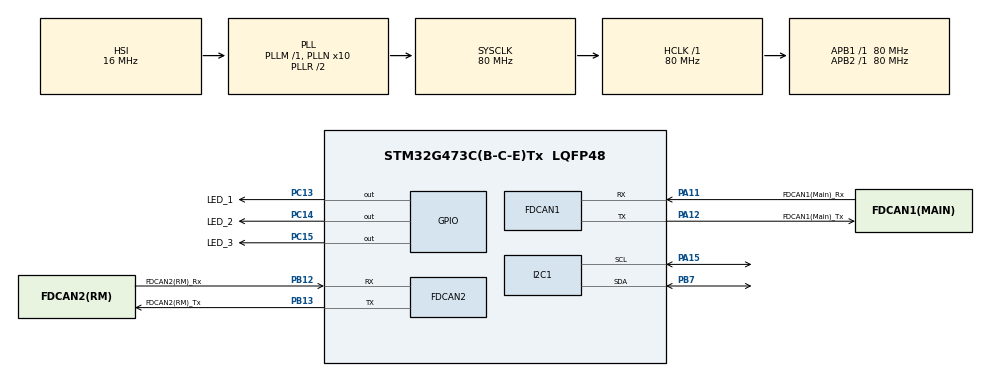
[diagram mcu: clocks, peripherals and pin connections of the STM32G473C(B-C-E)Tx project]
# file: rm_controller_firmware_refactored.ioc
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FDCAN1.CalculateBaudRateNominal=1000000
FDCAN1.CalculateTimeBitNominal=1000
FDCAN1.CalculateTimeQuantumNominal=100.0
FDCAN1.DataPrescaler=4
FDCAN1.DataTimeSeg1=7
FDCAN1.DataTimeSeg2=1
FDCAN1.FrameFormat=FDCAN_FRAME_CLASSIC
FDCAN1.NominalPrescaler=8
FDCAN1.NominalTimeSeg1=7
FDCAN1.NominalTimeSeg2=2
FDCAN1.StdFiltersNbr=3
FDCAN2.CalculateBaudRateNominal=1000000
FDCAN2.CalculateTimeBitNominal=1000
FDCAN2.CalculateTimeQuantumNominal=100.0
FDCAN2.DataPrescaler=4
FDCAN2.DataTimeSeg1=7
FDCAN2.DataTimeSeg2=2
FDCAN2.ExtFiltersNbr=1
FDCAN2.NominalPrescaler=8
FDCAN2.NominalTimeSeg1=7
FDCAN2.NominalTimeSeg2=2
FDCAN2.StdFiltersNbr=1
I2C1.Timing=0x10D19CE4
Mcu.Family=STM32G4
Mcu.Name=STM32G473C(B-C-E)Tx
Mcu.Package=LQFP48
NVIC.FDCAN1_IT0_IRQn=true\:0\:0\:false\:false\:true\:true\:true\:true
NVIC.FDCAN2_IT0_IRQn=true\:0\:0\:false\:false\:true\:true\:true\:true
NVIC.FDCAN2_IT1_IRQn=true\:0\:0\:false\:false\:true\:true\:true\:true
NVIC.PriorityGroup=NVIC_PRIORITYGROUP_4
NVIC.TIM1_UP_TIM16_IRQn=true\:2\:0\:true\:false\:true\:true\:true\:true
NVIC.TIM6_DAC_IRQn=true\:1\:0\:true\:false\:true\:true\:true\:true
PA11.GPIO_Label=FDCAN1(Main)_Rx
PA11.Mode=FDCAN_Activate
PA11.Signal=FDCAN1_RX
PA12.GPIO_Label=FDCAN1(Main)_Tx
PA12.Mode=FDCAN_Activate
PA12.Signal=FDCAN1_TX
PA13.Mode=Trace_Asynchronous_SW
PA13.Signal=SYS_JTMS-SWDIO
PA14.Mode=Trace_Asynchronous_SW
PA14.Signal=SYS_JTCK-SWCLK
PA15.Mode=I2C
PA15.Signal=I2C1_SCL
PB12.GPIO_Label=FDCAN2(RM)_Rx
PB12.Mode=FDCAN_Activate
PB12.Signal=FDCAN2_RX
PB13.GPIO_Label=FDCAN2(RM)_Tx
PB13.Mode=FDCAN_Activate
PB13.Signal=FDCAN2_TX
PB3.Mode=Trace_Asynchronous_SW
PB3.Signal=SYS_JTDO-SWO
PB7.Mode=I2C
PB7.Signal=I2C1_SDA
PC13.GPIO_Label=LED_1
PC13.Signal=GPIO_Output
PC14-OSC32_IN.GPIO_Label=LED_2
PC14-OSC32_IN.Signal=GPIO_Output
PC15-OSC32_OUT.GPIO_Label=LED_3
PC15-OSC32_OUT.Signal=GPIO_Output
ProjectManager.HeapSize=0x200
ProjectManager.StackSize=0x400
ProjectManager.TargetToolchain=CMake
RCC.ADC12Freq_Value=80000000
RCC.ADC345Freq_Value=80000000
RCC.AHBFreq_Value=80000000
RCC.APB1Freq_Value=80000000
RCC.APB1TimFreq_Value=80000000
RCC.APB2Freq_Value=80000000
RCC.APB2TimFreq_Value=80000000
RCC.CortexFreq_Value=80000000
RCC.EXTERNAL_CLOCK_VALUE=12288000
RCC.HCLKFreq_Value=80000000
RCC.HSE_VALUE=8000000
RCC.HSI48_VALUE=48000000
RCC.HSI_VALUE=16000000
RCC.LSE_VALUE=32768
RCC.PLLN=10
RCC.SYSCLKFreq_VALUE=80000000
RCC.SYSCLKSource=RCC_SYSCLKSOURCE_PLLCLK
RCC.USBFreq_Value=80000000
RCC.VCOOutputFreq_Value=160000000
TIM16.PeriodNoDither=999
TIM16.Prescaler=639
TIM6.PeriodNoDither=999
TIM6.Prescaler=319
VP_SYS_VS_DBSignals.Mode=DisableDeadBatterySignals
VP_TIM16_VS_ClockSourceINT.Mode=Enable_Timer
VP_TIM6_VS_ClockSourceINT.Mode=Enable_Timer
board=custom

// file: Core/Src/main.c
/* USER CODE BEGIN Header */
/**
  ******************************************************************************
  * @file           : main.c
  * @brief          : Main program body
  ******************************************************************************
  * @attention
  *
  * Copyright (c) 2026 STMicroelectronics.
  * All rights reserved.
  *
  * This software is licensed under terms that can be found in the LICENSE file
  * in the root directory of this software component.
  * If no LICENSE file comes with this software, it is provided AS-IS.
  *
  ******************************************************************************
  */
/* USER CODE END Header */
#include "main.h"
#include "fdcan.h"
#include "i2c.h"
#include "tim.h"
#include "gpio.h"
#include "stdbool.h"

/* USER CODE BEGIN Includes */
#include "string.h"
#include "math.h"
#include "stdlib.h"
/* USER CODE END Includes */

/* USER CODE BEGIN PV */
MotorState motorstate[8] = {0};
volatile RxDatas rx_datas;
int16_t can1_reset_cooltime = 0;
int16_t can2_reset_cooltime = 0;
volatile int16_t main_can_move = 0; //mainとcan通信ができているか
uint8_t rm_id = 0;
Gain rm_angle_gain = {.Kp = 0.6f, .Ki = 0.3f, .Kd = 0.0f};
Gain rm_speed_gain = {.Kp = 10.0f, .Ki = 40.0f, .Kd = 0.0f}; //I=30.0
Gain rs_angle_gain = {.Kp = 0.0f, .Ki = 0.0f, .Kd = 0.0f};
uint32_t t_count = 0;
/* USER CODE END PV */

void SystemClock_Config(void);
/* USER CODE BEGIN PFP */
void main_rx(uint8_t motor_id);
void rm_rx(uint8_t motor_id);
void rs_rx(uint8_t motor_id);
void rs_init(uint8_t motor_id);
void can_send(uint32_t id, uint8_t *tx_data,uint8_t id_type,uint8_t channel);
void speed_pid_task();
void angle_pid_task();
void countdown();
void gain_init(uint8_t motor_id,int8_t motor_type);
int16_t rm_move(int i,bool *rm_send1,bool *rm_send2);
void rs_move(int i);
float pid(int i, Mode mode);
void main_rx_init(void);
/* USER CODE END PFP */

int main(void)
{

  /* MCU Configuration--------------------------------------------------------*/

  /* Reset of all peripherals, Initializes the Flash interface and the Systick. */
  HAL_Init();

  /* Configure the system clock */
  SystemClock_Config();

  /* Initialize all configured peripherals */
  MX_GPIO_Init();
  MX_FDCAN1_Init();
  MX_FDCAN2_Init();
  MX_I2C1_Init();
  MX_TIM6_Init();
  MX_TIM16_Init();
  /* USER CODE BEGIN 2 */
  HAL_TIM_Base_Start_IT(&htim16);
  HAL_TIM_Base_Start_IT(&htim6);
  HAL_GPIO_WritePin(LED_1_GPIO_Port, LED_1_Pin, GPIO_PIN_SET);
  /* USER CODE END 2 */

  /* Infinite loop */
  /* USER CODE BEGIN WHILE */
  while (1)
  {
    //異常時にCANをリセット
    if ((hfdcan1.Instance->PSR & FDCAN_PSR_BO) != 0 && can1_reset_cooltime == 0)
    {
      HAL_FDCAN_Stop(&hfdcan1);
      HAL_FDCAN_Start(&hfdcan1);
      can1_reset_cooltime = 25;
    }
    if ((hfdcan2.Instance->PSR & FDCAN_PSR_BO) != 0 && can2_reset_cooltime == 0)
    {
      HAL_FDCAN_Stop(&hfdcan2);
      HAL_FDCAN_Start(&hfdcan2);
      can2_reset_cooltime = 25;
    }
    //CAN受信の処理

    //メインからの受信(init/gain)
    if (rx_datas.main_rx_init.write_idx != rx_datas.main_rx_init.read_idx) {
      main_rx_init();
    }
    for (int i = 0; i < 8; i++) {
      //メインからの受信(value)
      if (rx_datas.main_rx[i].rx_flag == true) {
        rx_datas.main_rx[i].rx_flag = false;
        main_rx(i);
      }

      //ロボマスからの受信
      if (rx_datas.rm_rx[i].rx_flag == true) {
        rx_datas.rm_rx[i].rx_flag = false;
        rm_rx(i);
      }
      //ロボストライドからの受信
      if (rx_datas.rs_rx[i].rx_flag == true) {
        rx_datas.rs_rx[i].rx_flag = false;
        rs_rx(i);
      }
    }
    /* USER CODE END WHILE */
  }
}

void SystemClock_Config(void)
{
  RCC_OscInitTypeDef RCC_OscInitStruct = {0};
  RCC_ClkInitTypeDef RCC_ClkInitStruct = {0};

  /** Configure the main internal regulator output voltage
  */
  HAL_PWREx_ControlVoltageScaling(PWR_REGULATOR_VOLTAGE_SCALE1);

  /** Initializes the RCC Oscillators according to the specified parameters
  * in the RCC_OscInitTypeDef structure.
  */
  RCC_OscInitStruct.OscillatorType = RCC_OSCILLATORTYPE_HSI;
  RCC_OscInitStruct.HSIState = RCC_HSI_ON;
  RCC_OscInitStruct.HSICalibrationValue = RCC_HSICALIBRATION_DEFAULT;
  RCC_OscInitStruct.PLL.PLLState = RCC_PLL_ON;
  RCC_OscInitStruct.PLL.PLLSource = RCC_PLLSOURCE_HSI;
  RCC_OscInitStruct.PLL.PLLM = RCC_PLLM_DIV1;
  RCC_OscInitStruct.PLL.PLLN = 10;
  RCC_OscInitStruct.PLL.PLLP = RCC_PLLP_DIV2;
  RCC_OscInitStruct.PLL.PLLQ = RCC_PLLQ_DIV2;
  RCC_OscInitStruct.PLL.PLLR = RCC_PLLR_DIV2;
  if (HAL_RCC_OscConfig(&RCC_OscInitStruct) != HAL_OK)
  {
    Error_Handler();
  }

  /** Initializes the CPU, AHB and APB buses clocks
  */
  RCC_ClkInitStruct.ClockType = RCC_CLOCKTYPE_HCLK|RCC_CLOCKTYPE_SYSCLK
                              |RCC_CLOCKTYPE_PCLK1|RCC_CLOCKTYPE_PCLK2;
  RCC_ClkInitStruct.SYSCLKSource = RCC_SYSCLKSOURCE_PLLCLK;
  RCC_ClkInitStruct.AHBCLKDivider = RCC_SYSCLK_DIV1;
  RCC_ClkInitStruct.APB1CLKDivider = RCC_HCLK_DIV1;
  RCC_ClkInitStruct.APB2CLKDivider = RCC_HCLK_DIV1;

  if (HAL_RCC_ClockConfig(&RCC_ClkInitStruct, FLASH_LATENCY_2) != HAL_OK)
  {
    Error_Handler();
  }
}

/* USER CODE BEGIN 4 */
bool dequeue(volatile RingBuffer *rb,uint8_t *data,uint32_t *id) {
  if (rb->count == 0) {
    return false;
  }
  *id = rb->data[rb->read_idx].rx_id;
  memcpy(data,(const void *)rb->data[rb->read_idx].rx_data,8);
  rb->read_idx = (rb->read_idx + 1) % RX_BUFFER_SIZE;
  rb->count--;
  return true;
}

void can_send(uint32_t id,uint8_t *tx_data,uint8_t id_type,uint8_t channel) {
  FDCAN_TxHeaderTypeDef TxHeader;
  uint8_t tx_datas[8] = {0};
  if (id_type == 0) {
    TxHeader.Identifier = id;             // 送信ID
    TxHeader.IdType = FDCAN_STANDARD_ID;  // 標準ID
  } else {
    TxHeader.Identifier = id;             // 送信ID
    TxHeader.IdType = FDCAN_EXTENDED_ID;  // 拡張ID
  }
  TxHeader.TxFrameType = FDCAN_DATA_FRAME;            // データフレーム
  TxHeader.DataLength = FDCAN_DLC_BYTES_8;            // DLC
  TxHeader.ErrorStateIndicator = FDCAN_ESI_ACTIVE;
  TxHeader.BitRateSwitch = FDCAN_BRS_OFF;             // BRS設定５
  TxHeader.FDFormat = FDCAN_CLASSIC_CAN;              // Classic
  TxHeader.TxEventFifoControl = FDCAN_NO_TX_EVENTS;
  TxHeader.MessageMarker = 0;
  memcpy(tx_datas,tx_data,8);

  if (channel == 0) {
    if (HAL_FDCAN_GetTxFifoFreeLevel(&hfdcan1) > 0)
    {
      HAL_FDCAN_AddMessageToTxFifoQ(&hfdcan1, &TxHeader, tx_datas);
    }
  } else {
    if (HAL_FDCAN_GetTxFifoFreeLevel(&hfdcan2) > 0)
    {
      HAL_FDCAN_AddMessageToTxFifoQ(&hfdcan2, &TxHeader, tx_datas);
    }
  }
}

void gain_init(uint8_t motor_id,int8_t motor_type) {
  if (motor_type == 1) {
    motorstate[motor_id].speed.speed_gain = rm_speed_gain;
    motorstate[motor_id].angle.angle_gain = rm_angle_gain;
  } else if (motor_type == 2) {
    motorstate[motor_id].angle.angle_gain = rs_angle_gain;
  }
}

void rs_init(uint8_t motor_id) {
  uint8_t tx_datas[8] = {0};
  can_send((0x3 << 24) | (0x0 << 8) | motor_id,tx_datas,1,1);
  tx_datas[0] = 1;
  can_send((0x6 << 24) | (0x0 << 8) | motor_id,tx_datas,1,1);
}

void main_rx_init() {
  __disable_irq();
  uint8_t rx_data[8] = {0};
  uint32_t rx_id;
  if (dequeue(&rx_datas.main_rx_init,&rx_data[0],&rx_id) == false) {
    __enable_irq();
    return;
  }
  __enable_irq();
  uint8_t motor_id = rx_id;
  uint8_t packet_type = rx_data[0];
  if (packet_type == 0x00) {
    //init処理
    motorstate[motor_id].speed.speed_pid_state.e_pre = 0;
    motorstate[motor_id].speed.speed_pid_state.ie = 0;
    motorstate[motor_id].motor_type = rx_data[1];
    motorstate[motor_id].mode = rx_data[2];
    gain_init(motor_id,motorstate[motor_id].motor_type);
    if (rx_data[1] == 2) {
      rs_init(motor_id);   //ロボストライド用のinit処理
    }
  } else if (packet_type == 0x02) {
    //ゲインを変更
    uint16_t value1 = (rx_data[1] << 8) | rx_data[2];
    uint16_t value2 = (rx_data[3] << 8) | rx_data[4];
    uint16_t value3 = (rx_data[5] << 8) | rx_data[6];
    __fp16 half_value1;
    memcpy(&half_value1, &value1, 2);
    __fp16 half_value2;
    memcpy(&half_value2, &value2, 2);
    __fp16 half_value3;
    memcpy(&half_value3, &value3, 2);
    if (motorstate[motor_id].mode == SPEED)
    {
      motorstate[motor_id].speed.speed_gain.Kp = half_value1;
      motorstate[motor_id].speed.speed_gain.Ki = half_value2;
      motorstate[motor_id].speed.speed_gain.Kd = half_value3;
    }
    else if (motorstate[motor_id].mode == ANGLE)
    {
      motorstate[motor_id].angle.angle_gain.Kp = half_value1;
      motorstate[motor_id].angle.angle_gain.Ki = half_value2;
      motorstate[motor_id].angle.angle_gain.Kd = half_value3;
    }
  }
}

void main_rx(uint8_t motor_id) {
  __disable_irq();
  uint8_t rx_data[8] = {0};
  uint32_t rx_id = rx_datas.main_rx[motor_id].rx_id;
  memcpy(rx_data,rx_datas.main_rx[motor_id].rx_data, 8);
  __enable_irq();
  uint8_t packet_type = rx_data[0];

    HAL_GPIO_WritePin(LED_3_GPIO_Port, LED_3_Pin, GPIO_PIN_SET);
    //値を受け取る処理
    if (motorstate[motor_id].motor_can_move < 1) {
      return;
    }
    main_can_move = 125;
    if (motorstate[motor_id].mode == CURRENT) {
      motorstate[motor_id].current.target_current = (int16_t)((rx_data[1] << 8) | rx_data[2]);
    } else if (motorstate[motor_id].mode == SPEED) {
      if (motorstate[motor_id].motor_type == 1) {
        motorstate[motor_id].speed.target_rpm = (int16_t)((rx_data[1] << 8) | rx_data[2]) * GEAR_RATIO;     //もしロボマスなら、ギア比をかける
      } else {
        motorstate[motor_id].speed.target_rpm = (int16_t)((rx_data[1] << 8) | rx_data[2]);
      }
    } else if (motorstate[motor_id].mode == ANGLE) {
      uint16_t raw_target_angle = (rx_data[1] << 8) | rx_data[2];
      __fp16 half_value;
      memcpy(&half_value,&raw_target_angle,2);
      if (motorstate[motor_id].motor_type == 1) {
        motorstate[motor_id].angle.target_angle = half_value * GEAR_RATIO;     //もしロボマスなら、ギア比をかける
      } else {
        motorstate[motor_id].angle.target_angle = half_value;
      }
    }
}

void rm_rx(uint8_t motor_id) {
  __disable_irq();
  uint8_t rx_data[8] = {0};
  uint32_t rx_id = rx_datas.rm_rx[motor_id].rx_id;
  memcpy(rx_data,rx_datas.rm_rx[motor_id].rx_data, 8);
  __enable_irq();

  //currentを取得
  int16_t now_current = (rx_data[4] << 8) | rx_data[5];
  float new_current = now_current * current_alpha + motorstate[motor_id].current.current * (1 - current_alpha);
  motorstate[motor_id].current.current = (int16_t)new_current;

  //speedを取得
  int16_t now_rpm = (rx_data[2] << 8) | rx_data[3];
  float new_rpm = now_rpm * rpm_alpha + motorstate[motor_id].speed.rpm * (1 - rpm_alpha);
  motorstate[motor_id].speed.rpm = (int16_t)new_rpm;

  //angleを取得
  uint16_t angle_raw = (rx_data[0] << 8) | rx_data[1];
  float angle_360 = (float)angle_raw * 360.0f / 8192.0f;
  float diff = angle_360 - motorstate[motor_id].angle.pre_angle_360;
  if (diff < -300) {
    motorstate[motor_id].angle.resolution += 1;
  } else if (diff > 300) {
    motorstate[motor_id].angle.resolution -= 1;
  }
  motorstate[motor_id].angle.angle = angle_360 + motorstate[motor_id].angle.resolution * 360;
  motorstate[motor_id].angle.pre_angle_360 = angle_360;
  if (motorstate[motor_id].first_move == false) {
    motorstate[motor_id].first_move = true;
    motorstate[motor_id].angle.angle_zero = motorstate[motor_id].angle.angle;
  }
  motorstate[motor_id].motor_can_move = 125;
  motorstate[motor_id].angle.angle = fmodf(motorstate[motor_id].angle.angle - motorstate[motor_id].angle.angle_zero,360 * GEAR_RATIO);
  if (motorstate[motor_id].angle.angle < 0) {
    motorstate[motor_id].angle.angle += 360 * GEAR_RATIO;
  }
  HAL_GPIO_WritePin(LED_2_GPIO_Port, LED_2_Pin, GPIO_PIN_SET);
}

void rs_rx(uint8_t motor_id) {
  __disable_irq();
  uint8_t rx_data[8] = {0};
  uint32_t rx_id = rx_datas.rs_rx[motor_id].rx_id;
  memcpy(rx_data,rx_datas.rs_rx[motor_id].rx_data, 8);
  __enable_irq();
  uint16_t type = rx_id >> 24 & 0x1F;
  if (type == 2) {
    uint16_t mode = rx_id >> 22 & 0x3;
    uint16_t fault = rx_id>> 16 & 0x3F;
    if (fault == 0 && mode == 2) {
      //motor_canが動いていることを確認
      motorstate[motor_id].motor_can_move = 125;
      //currentを取得
      uint16_t current_raw = (rx_data[4] << 8 ) | rx_data[5];
      int32_t current = current_raw * 20000 / 65535 - 10000; //電流値は10000~-10000
      motorstate[motor_id].current.current = (int16_t)current;
      //speedを取得
      uint16_t speed_raw = (rx_data[2] << 8) | rx_data[3];
      float speed = (float)speed_raw * 100.0f / 65535.0f - 50.0f;
      motorstate[motor_id].speed.rpm = (int16_t)(speed * 30.0f / (float)M_PI);
      //angleを取得
      uint16_t angle_raw = (rx_data[0] << 8) | rx_data[1];
      float angle_360 = angle_raw / 65535.0f * 1440.0f - 720.0f;
      float diff = angle_360 - motorstate[motor_id].angle.pre_angle_360;
      if (diff < -720) {
        motorstate[motor_id].angle.resolution += 1;
      } else if (diff > 720) {
        motorstate[motor_id].angle.resolution -= 1;
      }
      motorstate[motor_id].angle.pre_angle_360 = angle_360;
      motorstate[motor_id].angle.angle = angle_360 + motorstate[motor_id].angle.resolution * 1440.0f;
    }
  }
}

void countdown() {
  //リセットのクールタイムをカウントダウン
  if (can1_reset_cooltime > 0)
  {
    can1_reset_cooltime -= 1;
  }
  if (can2_reset_cooltime > 0)
  {
    can2_reset_cooltime -= 1;
  }
  //main_can_moveをカウントダウン
  if (main_can_move > 0) {
    main_can_move -= 1;
  } else {
    //main_canが動いていない時
    for (int i = 0; i < 8; i++)
    {
      if (motorstate[i].mode == SPEED || motorstate[i].mode == CURRENT) {
        motorstate[i].speed.target_rpm = 0;
        motorstate[i].current.target_current = 0;
      }
    }
  }
  //motor_can_moveをカウントダウン
  for (int i = 0; i < 8; i++) {
    if (motorstate[i].motor_can_move > 0) {
      motorstate[i].motor_can_move -= 1;
    } else {
      //motor_canが動いていない時
      motorstate[i].current.target_current = 0;
      motorstate[i].speed.speed_pid_state.e_pre = 0;
      motorstate[i].speed.speed_pid_state.ie = 0;
      motorstate[i].speed.target_rpm = 0;
      motorstate[i].speed.rpm = 0;
      motorstate[i].angle.angle_pid_state.e_pre = 0;
      motorstate[i].angle.angle_pid_state.ie = 0;
    }
  }
}

float pid(int i,Mode mode) {
  float *ie = 0;
  float e = 0;
  float *e_pre = 0;
  float Kp = 0;
  float Ki = 0;
  float Kd = 0;
  float t = 0;
  float power = 0;
  int16_t max_power = 0;
  int16_t min_power = 0;
  if (mode == SPEED) {
    e = motorstate[i].speed.target_rpm - motorstate[i].speed.rpm;
    ie = &motorstate[i].speed.speed_pid_state.ie;
    e_pre = &motorstate[i].speed.speed_pid_state.e_pre;
    Kp = motorstate[i].speed.speed_gain.Kp;
    Ki = motorstate[i].speed.speed_gain.Ki;
    Kd = motorstate[i].speed.speed_gain.Kd;
    max_power = MAX_POWER;
    min_power = MIN_POWER;
    t = T_6;
  } else if (mode == ANGLE) {
    e = motorstate[i].angle.target_angle - motorstate[i].angle.angle;
    if (motorstate[i].motor_type == 1) {
      if (e > RESOLUTION / 2)
      {
        e -= RESOLUTION;
      } else if (e < RESOLUTION / -2) {
        e += RESOLUTION;
      }
      max_power = RM_MAX_RPM;
      min_power = RM_MIN_RPM;
    } else if (motorstate[i].motor_type == 2) {
      max_power = RS_MAX_RPM;
      min_power = RS_MIN_RPM;
    }
    ie = &motorstate[i].angle.angle_pid_state.ie;
    e_pre = &motorstate[i].angle.angle_pid_state.e_pre;
    Kp = motorstate[i].angle.angle_gain.Kp;
    Ki = motorstate[i].angle.angle_gain.Ki;
    Kd = motorstate[i].angle.angle_gain.Kd;
    t = T_16;
  }

  float de = (e - *e_pre) / t;
  if (*ie > MAX_IE && (e + *e_pre) > 0) {
    //ieを増やさない
  } else if (*ie < MIN_IE && (e + *e_pre) < 0) {
    //ieを減らさない
  }else {
    *ie += (e + *e_pre) * t / 2;
  }
  float P = e * Kp;
  float I = *ie * Ki;
  float D = de * Kd;
  power = P + I + D;
  if (power > max_power) {
    power = max_power;
  } else if (power < min_power) {
    power = min_power;
  }
  *e_pre = e;
  return power;
}

int16_t rm_move(int i,bool *rm_send1,bool *rm_send2) {
  int16_t current;
  float power = 0;
  if (motorstate[i].motor_can_move > 0) {
    if (motorstate[i].mode == ANGLE || motorstate[i].mode == SPEED) {
      //ロボマスを動かすか確認
      if (i > 3) {
        if (!*rm_send2) {
          *rm_send2 = true;
        }
      } else {
        if (!*rm_send1) {
          *rm_send1 = true;
        }
      }
      //目標速度0のときie/e_preをリセット
      if (motorstate[i].speed.target_rpm == 0) {
        motorstate[i].speed.speed_pid_state.e_pre = 0;
        motorstate[i].speed.speed_pid_state.ie = 0;
      }
      power = pid(i,SPEED);
    } else if (motorstate[i].mode == CURRENT) {
      power = motorstate[i].current.target_current;
      //ロボマスを動かすか確認
      if (i > 3) {
        if (!*rm_send2) {
          *rm_send2 = true;
        }
      } else {
        if (!*rm_send1) {
          *rm_send1 = true;
        }
      }
    }
  }
  current = (int16_t)power;
  return current;
}

void rs_move(int i) {
  if (motorstate[i].motor_can_move == 0) {
    return;
  }
  uint16_t torque = 32768;
  uint32_t id = (0x1 << 24) | (torque << 8) | i;
  uint8_t tx_data[8] = {0};

  float target_speed = motorstate[i].speed.target_rpm / 30.0f * (float)M_PI;
  if (target_speed > MAX_RAD_S) {
    target_speed = MAX_RAD_S;
  } else if (target_speed < MIN_RAD_S) {
    target_speed = MIN_RAD_S;
  }
  float target_angular_velocity_float = (target_speed + 50.0f) * 65535.0f / 100.0f;
  uint16_t target_angular_velocity = (uint16_t)target_angular_velocity_float;
  uint16_t target_angle = 0;
  uint16_t Kp = 0;
  uint16_t Kd = 2622;
  tx_data[0] = (target_angle >> 8);
  tx_data[1] = (target_angle & 0xFF);
  tx_data[2] = (target_angular_velocity >> 8);
  tx_data[3] = (target_angular_velocity & 0xFF);
  tx_data[4] = (Kp >> 8);
  tx_data[5] = (Kp & 0xFF);
  tx_data[6] = (Kd >> 8);
  tx_data[7] = (Kd & 0xFF);
  can_send(id,tx_data,1,1);
}

void speed_pid_task(void) {
  bool rm_send1 = false;
  bool rm_send2 = false;
  uint8_t tx_data[8] = {0};
  int16_t current[8] = {0};
  for (int i = 0; i < 8; i++) {
    if (motorstate[i].motor_type == 1) {
      current[i] = rm_move(i,&rm_send1,&rm_send2);
      //滑り検知//
      /*
      if (t_count > 5) {
        int16_t masatu = 0;

        float now_alpha = ( motorstate[i].speed.pre_rpm - motorstate[i].speed.rpm ) / (T_6 * t_count);
        float new_alpha = now_alpha * rpms_alpha + motorstate[i].speed.pre_alpha * (1 - rpms_alpha);
        float alpha_meas = new_alpha;
        int8_t sign = (motorstate[i].current.current > 0) - (motorstate[i].current.current < 0);
        int8_t rpm_sign = (motorstate[i].speed.rpm > 0) - (motorstate[i].speed.rpm < 0);
        if (abs(motorstate[i].speed.rpm) > 0) {
          masatu = 600 * sign;
        }
        int16_t alpha_exp = (int16_t)(alpha_meas * C_value + (float)motorstate[i].speed.rpm * D_value + (float)masatu);
        motorstate[i].speed.pre_alpha = alpha_meas;
        if (i == 0) {
          view1 = (int16_t)(alpha_meas / -1.0f + (float)(motorstate[i].speed.rpm / 10 + masatu)); //並進は*-2,旋回は/-1
          //view1 = alpha_exp;
          if ( sign * (view1 - motorstate[i].current.current) > margin && sign == rpm_sign) {
            //滑り
            view5 = 1000;
          } else {
            view5 = 0;
          }
        }
        if ( sign * (alpha_exp - motorstate[i].current.current) > margin ) {
          //滑り
        }
        motorstate[i].speed.pre_rpm = motorstate[i].speed.rpm;
        t_count = 0;
      }
      */
      //滑り検知//
    } else if (motorstate[i].motor_type == 2 && (motorstate[i].mode == SPEED || motorstate[i].mode == ANGLE)) {
      rs_move(i);
    }
  }
  if (rm_send1) {
    tx_data[0] = (current[0] >> 8);
    tx_data[1] = (current[0] & 0xFF);
    tx_data[2] = (current[1] >> 8);
    tx_data[3] = (current[1] & 0xFF);
    tx_data[4] = (current[2] >> 8);
    tx_data[5] = (current[2] & 0xFF);
    tx_data[6] = (current[3] >> 8);
    tx_data[7] = (current[3] & 0xFF);
    can_send(0x200,tx_data,0,1);
  }
  if (rm_send2) {
    tx_data[0] = (current[4] >> 8);
    tx_data[1] = (current[4] & 0xFF);
    tx_data[2] = (current[5] >> 8);
    tx_data[3] = (current[5] & 0xFF);
    tx_data[4] = (current[6] >> 8);
    tx_data[5] = (current[6] & 0xFF);
    tx_data[6] = (current[7] >> 8);
    tx_data[7] = (current[7] & 0xFF);
    can_send(0x1FF,tx_data,0,1);
  }
}

void angle_pid_task(void) {
  for (int i = 0; i < 8; i++) {
    if (motorstate[i].mode == ANGLE) {
      motorstate[i].speed.target_rpm = pid(i,ANGLE);
    }
  }
}

void HAL_TIM_PeriodElapsedCallback(TIM_HandleTypeDef *htim)
{
  if (htim->Instance == TIM6)
  {
    t_count ++;
    //速度ループ
    countdown();
    speed_pid_task();
  } else if (htim->Instance == TIM16)
  {
    //角度ループ
    angle_pid_task();
    HAL_GPIO_WritePin(LED_2_GPIO_Port, LED_2_Pin, GPIO_PIN_RESET);
    HAL_GPIO_WritePin(LED_3_GPIO_Port, LED_3_Pin, GPIO_PIN_RESET);
  }
}

/* USER CODE END 4 */

void Error_Handler(void)
{
  __disable_irq();
  while (1)
  {
  }
}
